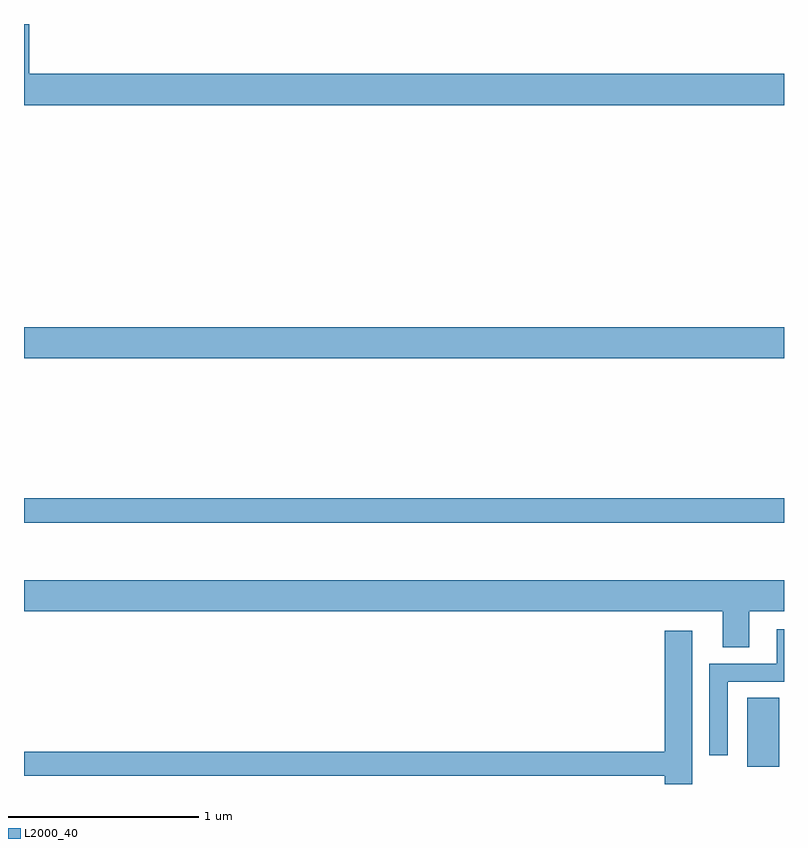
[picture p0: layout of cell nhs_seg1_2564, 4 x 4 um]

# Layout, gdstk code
import gdstk
lib = gdstk.Library(unit=1e-6, precision=1e-09)
def R(c, l, rs):  # rectangles x0, y0, x1, y1
    for r in rs: c.add(gdstk.rectangle(r[:2], r[2:], *l))
def P(c, l, *ps):  # polygons
    for p in ps: c.add(gdstk.Polygon(p, *l))
L2000_40 = (2000, 40)

nhs_seg1_2564 = lib.new_cell('nhs_seg1_2564')
R(nhs_seg1_2564, L2000_40, [(254.807,508.29,254.974,508.652), (251,509.574,255,509.702), (251,510.44,255,510.604)])
P(nhs_seg1_2564, L2000_40, [(255,511.936),(251.027,511.936),(251.027,512.199),(251,512.199),(251,511.772),(255,511.772)],
  [(254.818,509.108),(255,509.108),(255,509.272),(251,509.272),(251,509.108),(254.678,509.108),(254.678,508.918),(254.818,508.918)],
  [(254.703,508.737),(255,508.737),(255,509.014),(254.963,509.014),(254.963,508.833),(254.607,508.833),(254.607,508.35),(254.703,508.35)],
  [(254.518,509.005),(254.372,509.005),(254.372,508.37),(251,508.37),(251,508.242),(254.372,508.242),(254.372,508.199),(254.518,508.199)])

lib.write_gds('nhs_seg1_2564.gds')
